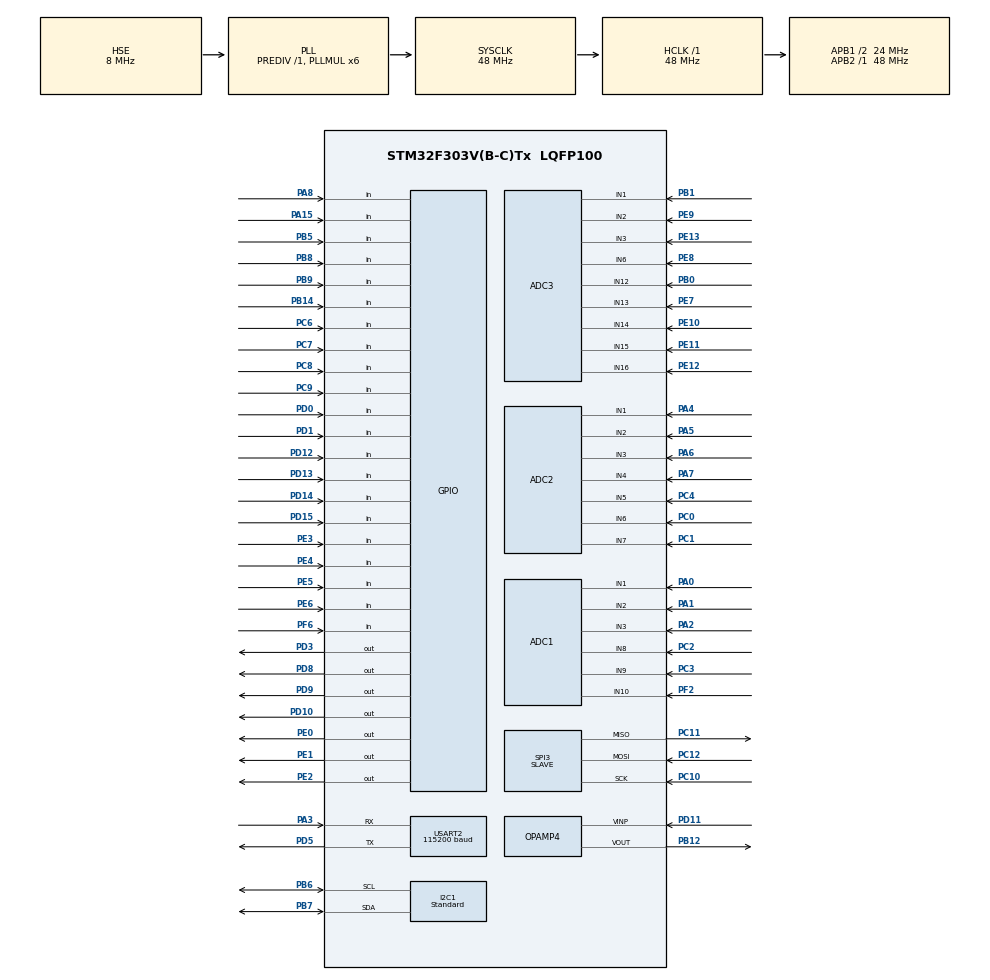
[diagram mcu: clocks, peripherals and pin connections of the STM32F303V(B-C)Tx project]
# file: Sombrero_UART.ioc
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ADC1.Channel-3\#ChannelRegularConversion=ADC_CHANNEL_1
ADC1.NbrOfConversionFlag=1
ADC1.Offset-3\#ChannelRegularConversion=0
ADC1.OffsetNumber-3\#ChannelRegularConversion=ADC_OFFSET_NONE
ADC1.Rank-3\#ChannelRegularConversion=1
ADC1.SamplingTime-3\#ChannelRegularConversion=ADC_SAMPLETIME_1CYCLE_5
ADC1.master=1
ADC2.Channel-1\#ChannelRegularConversion=ADC_CHANNEL_1
ADC2.NbrOfConversionFlag=1
ADC2.Offset-1\#ChannelRegularConversion=0
ADC2.OffsetNumber-1\#ChannelRegularConversion=ADC_OFFSET_NONE
ADC2.Rank-1\#ChannelRegularConversion=1
ADC2.SamplingTime-1\#ChannelRegularConversion=ADC_SAMPLETIME_1CYCLE_5
ADC3.Channel-2\#ChannelRegularConversion=ADC_CHANNEL_2
ADC3.NbrOfConversionFlag=1
ADC3.Offset-2\#ChannelRegularConversion=0
ADC3.OffsetNumber-2\#ChannelRegularConversion=ADC_OFFSET_NONE
ADC3.Rank-2\#ChannelRegularConversion=1
ADC3.SamplingTime-2\#ChannelRegularConversion=ADC_SAMPLETIME_1CYCLE_5
ADC3.master=1
ADC4.Channel-2\#ChannelRegularConversion=ADC_CHANNEL_VOPAMP4
ADC4.NbrOfConversionFlag=1
ADC4.Offset-2\#ChannelRegularConversion=0
ADC4.OffsetNumber-2\#ChannelRegularConversion=ADC_OFFSET_NONE
ADC4.Rank-2\#ChannelRegularConversion=1
ADC4.SamplingTime-2\#ChannelRegularConversion=ADC_SAMPLETIME_1CYCLE_5
I2C1.I2C_Speed_Mode=I2C_Standard
I2C1.Speed=50
I2C1.Timing=0x00101D7C
Mcu.Family=STM32F3
Mcu.Name=STM32F303V(B-C)Tx
Mcu.Package=LQFP100
NVIC.PriorityGroup=NVIC_PRIORITYGROUP_4
NVIC.USART2_IRQn=true\:0\:0\:false\:false\:true\:true\:true
PA0.Mode=IN1-Single-Ended
PA0.Signal=ADC1_IN1
PA1.Mode=IN2-Single-Ended
PA1.Signal=ADC1_IN2
PA13.Mode=Serial_Wire
PA13.Signal=SYS_JTMS-SWDIO
PA14.Mode=Serial_Wire
PA14.Signal=SYS_JTCK-SWCLK
PA15.Signal=GPIO_Input
PA2.Mode=IN3-Single-Ended
PA2.Signal=ADC1_IN3
PA3.Mode=Asynchronous
PA3.Signal=USART2_RX
PA4.Mode=IN1-Single-Ended
PA4.Signal=ADC2_IN1
PA5.Mode=IN2-Single-Ended
PA5.Signal=ADC2_IN2
PA6.Mode=IN3-Single-Ended
PA6.Signal=ADC2_IN3
PA7.Mode=IN4-Single-Ended
PA7.Signal=ADC2_IN4
PA8.GPIO_Mode=GPIO_MODE_INPUT
PA8.GPIO_PuPd=GPIO_NOPULL
PA8.Signal=GPIO_Input
PB0.Mode=IN12-Single-Ended
PB0.Signal=ADC3_IN12
PB1.Mode=IN1-Single-Ended
PB1.Signal=ADC3_IN1
PB12.Mode=Follower
PB12.Signal=OPAMP4_VOUT
PB14.GPIO_Mode=GPIO_MODE_INPUT
PB14.GPIO_PuPd=GPIO_NOPULL
PB14.Signal=GPIO_Input
PB5.GPIO_Mode=GPIO_MODE_INPUT
PB5.GPIO_PuPd=GPIO_NOPULL
PB5.Signal=GPIO_Input
PB6.Mode=I2C
PB6.Signal=I2C1_SCL
PB7.Mode=I2C
PB7.Signal=I2C1_SDA
PB8.GPIO_Mode=GPIO_MODE_INPUT
PB8.GPIO_PuPd=GPIO_NOPULL
PB8.Signal=GPIO_Input
PB9.GPIO_Mode=GPIO_MODE_INPUT
PB9.GPIO_PuPd=GPIO_NOPULL
PB9.Signal=GPIO_Input
PC0.Signal=ADCx_IN6
PC1.Signal=ADCx_IN7
PC10.Mode=Full_Duplex_Slave
PC10.Signal=SPI3_SCK
PC11.Mode=Full_Duplex_Slave
PC11.Signal=SPI3_MISO
PC12.Mode=Full_Duplex_Slave
PC12.Signal=SPI3_MOSI
PC14-OSC32_IN.Mode=LSE-External-Oscillator
PC14-OSC32_IN.Signal=RCC_OSC32_IN
PC15-OSC32_OUT.Mode=LSE-External-Oscillator
PC15-OSC32_OUT.Signal=RCC_OSC32_OUT
PC2.Signal=ADCx_IN8
PC3.Signal=ADCx_IN9
PC4.Mode=IN5-Single-Ended
PC4.Signal=ADC2_IN5
PC6.GPIO_Mode=GPIO_MODE_INPUT
PC6.GPIO_PuPd=GPIO_NOPULL
PC6.Signal=GPIO_Input
PC7.GPIO_Mode=GPIO_MODE_INPUT
PC7.GPIO_PuPd=GPIO_NOPULL
PC7.Signal=GPIO_Input
PC8.GPIO_Mode=GPIO_MODE_INPUT
PC8.GPIO_PuPd=GPIO_NOPULL
PC8.Signal=GPIO_Input
PC9.GPIO_Mode=GPIO_MODE_INPUT
PC9.GPIO_PuPd=GPIO_NOPULL
PC9.Signal=GPIO_Input
PD0.Signal=GPIO_Input
PD1.Signal=GPIO_Input
PD10.GPIO_ModeDefaultOutputPP=GPIO_MODE_OUTPUT_PP
PD10.GPIO_PuPd=GPIO_NOPULL
PD10.GPIO_Speed=GPIO_SPEED_FREQ_LOW
PD10.PinState=GPIO_PIN_RESET
PD10.Signal=GPIO_Output
PD11.Mode=Follower
PD11.Signal=OPAMP4_VINP
PD12.GPIO_Mode=GPIO_MODE_INPUT
PD12.GPIO_PuPd=GPIO_NOPULL
PD12.Signal=GPIO_Input
PD13.GPIO_Mode=GPIO_MODE_INPUT
PD13.GPIO_PuPd=GPIO_NOPULL
PD13.Signal=GPIO_Input
PD14.GPIO_Mode=GPIO_MODE_INPUT
PD14.GPIO_PuPd=GPIO_NOPULL
PD14.Signal=GPIO_Input
PD15.GPIO_Mode=GPIO_MODE_INPUT
PD15.GPIO_PuPd=GPIO_NOPULL
PD15.Signal=GPIO_Input
PD3.Signal=GPIO_Output
PD5.Mode=Asynchronous
PD5.Signal=USART2_TX
PD8.GPIO_ModeDefaultOutputPP=GPIO_MODE_OUTPUT_PP
PD8.GPIO_PuPd=GPIO_NOPULL
PD8.GPIO_Speed=GPIO_SPEED_FREQ_LOW
PD8.PinState=GPIO_PIN_RESET
PD8.Signal=GPIO_Output
PD9.GPIO_ModeDefaultOutputPP=GPIO_MODE_OUTPUT_PP
PD9.GPIO_PuPd=GPIO_NOPULL
PD9.GPIO_Speed=GPIO_SPEED_FREQ_LOW
PD9.PinState=GPIO_PIN_RESET
PD9.Signal=GPIO_Output
PE0.GPIO_ModeDefaultOutputPP=GPIO_MODE_OUTPUT_PP
PE0.GPIO_PuPd=GPIO_NOPULL
PE0.GPIO_Speed=GPIO_SPEED_FREQ_LOW
PE0.PinState=GPIO_PIN_RESET
PE0.Signal=GPIO_Output
PE1.GPIO_ModeDefaultOutputPP=GPIO_MODE_OUTPUT_PP
PE1.GPIO_PuPd=GPIO_NOPULL
PE1.GPIO_Speed=GPIO_SPEED_FREQ_LOW
PE1.PinState=GPIO_PIN_RESET
PE1.Signal=GPIO_Output
PE10.Mode=IN14-Single-Ended
PE10.Signal=ADC3_IN14
PE11.Mode=IN15-Single-Ended
PE11.Signal=ADC3_IN15
PE12.Mode=IN16-Single-Ended
PE12.Signal=ADC3_IN16
PE13.Mode=IN3-Single-Ended
PE13.Signal=ADC3_IN3
PE2.GPIO_ModeDefaultOutputPP=GPIO_MODE_OUTPUT_PP
PE2.GPIO_PuPd=GPIO_NOPULL
PE2.GPIO_Speed=GPIO_SPEED_FREQ_LOW
PE2.PinState=GPIO_PIN_RESET
PE2.Signal=GPIO_Output
PE3.GPIO_Mode=GPIO_MODE_INPUT
PE3.GPIO_PuPd=GPIO_NOPULL
PE3.Signal=GPIO_Input
PE4.GPIO_Mode=GPIO_MODE_INPUT
PE4.GPIO_PuPd=GPIO_NOPULL
PE4.Signal=GPIO_Input
PE5.GPIO_Mode=GPIO_MODE_INPUT
PE5.GPIO_PuPd=GPIO_NOPULL
PE5.Signal=GPIO_Input
PE6.GPIO_Mode=GPIO_MODE_INPUT
PE6.GPIO_PuPd=GPIO_NOPULL
PE6.Signal=GPIO_Input
PE7.Mode=IN13-Single-Ended
PE7.Signal=ADC3_IN13
PE8.Signal=ADCx_IN6P
PE9.Mode=IN2-Single-Ended
PE9.Signal=ADC3_IN2
PF0-OSC_IN.Mode=HSE-External-Oscillator
PF0-OSC_IN.Signal=RCC_OSC_IN
PF1-OSC_OUT.Mode=HSE-External-Oscillator
PF1-OSC_OUT.Signal=RCC_OSC_OUT
PF2.Signal=ADCx_IN10
PF6.Signal=GPIO_Input
ProjectManager.HeapSize=0x200
ProjectManager.StackSize=0x400
ProjectManager.TargetToolchain=Makefile
RCC.ADC12PRES=RCC_ADC12PLLCLK_DIV4
RCC.ADC34PRES=RCC_ADC34PLLCLK_DIV4
RCC.AHBFreq_Value=48000000
RCC.APB1CLKDivider=RCC_HCLK_DIV2
RCC.APB1Freq_Value=24000000
RCC.APB1TimFreq_Value=48000000
RCC.APB2Freq_Value=48000000
RCC.APB2TimFreq_Value=48000000
RCC.CortexFreq_Value=48000000
RCC.HCLKFreq_Value=48000000
RCC.HSE_VALUE=8000000
RCC.HSI_VALUE=8000000
RCC.PLLMUL=RCC_PLL_MUL6
RCC.PLLSourceVirtual=RCC_PLLSOURCE_HSE
RCC.PREFETCH_ENABLE=1
RCC.SYSCLKFreq_VALUE=48000000
RCC.SYSCLKSourceVirtual=RCC_SYSCLKSOURCE_PLLCLK
RCC.USBFreq_Value=48000000
RCC.Usart1ClockSelection=RCC_USART1CLKSOURCE_SYSCLK
RCC.Usart2ClockSelection=RCC_USART2CLKSOURCE_SYSCLK
RCC.Usart3ClockSelection=RCC_USART3CLKSOURCE_SYSCLK
SH.ADCx_IN10.0=ADC1_IN10,IN10-Single-Ended
SH.ADCx_IN6.0=ADC2_IN6,IN6-Single-Ended
SH.ADCx_IN6P.0=ADC3_IN6,IN6-Single-Ended
SH.ADCx_IN7.0=ADC2_IN7,IN7-Single-Ended
SH.ADCx_IN8.0=ADC1_IN8,IN8-Single-Ended
SH.ADCx_IN9.0=ADC1_IN9,IN9-Single-Ended
SPI3.DataSize=SPI_DATASIZE_8BIT
SPI3.Direction=SPI_DIRECTION_2LINES
SPI3.Mode=SPI_MODE_SLAVE
SPI3.VirtualType=VM_SLAVE
USART2.BaudRate=115200
USART2.VirtualMode-Asynchronous=VM_ASYNC
VP_ADC4_OPAMP_INTERNAL4.Mode=IN-OPAMP4
board=custom

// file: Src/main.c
/* USER CODE BEGIN Header */
/**
  ******************************************************************************
  * @file           : main.c
  * @brief          : Main program body
  ******************************************************************************
  * @attention
  *
  * <h2><center>&copy; Copyright (c) 2019 STMicroelectronics.
  * All rights reserved.</center></h2>
  *
  * This software component is licensed by ST under BSD 3-Clause license,
  * the "License"; You may not use this file except in compliance with the
  * License. You may obtain a copy of the License at:
  *                        opensource.org/licenses/BSD-3-Clause
  *
  ******************************************************************************
  */
/* USER CODE END Header */

#include "main.h"
#include "adc.h"
#include "i2c.h"
#include "opamp.h"
#include "spi.h"
#include "usart.h"
#include "gpio.h"

/* USER CODE BEGIN Includes */
#include <string.h>
/* USER CODE END Includes */

/* USER CODE BEGIN PV */
volatile char log_buffer[150];
char *buff_tx = "Hello!\n\r";
volatile uint8_t buff_rx[150];
volatile uint8_t counter = 0;
uint32_t interval = 500;
volatile uint32_t previousMillis = 0;
volatile uint32_t currentMillis = 0;
/* USER CODE END PV */

void SystemClock_Config(void);

int main(void)
{

  /* MCU Configuration--------------------------------------------------------*/

  /* Reset of all peripherals, Initializes the Flash interface and the Systick. */
  HAL_Init();

  /* Configure the system clock */
  SystemClock_Config();

  /* Initialize all configured peripherals */
  MX_GPIO_Init();
  MX_ADC1_Init();
  MX_ADC2_Init();
  MX_ADC3_Init();
  MX_ADC4_Init();
  MX_I2C1_Init();
  MX_OPAMP4_Init();
  MX_USART2_UART_Init();
  MX_SPI3_Init();
  /* USER CODE BEGIN 2 */
  // ---
  // PVs

  // ---

  //__HAL_UART_ENABLE_IT(&huart2, UART_IT_TC);   // enable Tx UART interrupt.
  //__HAL_UART_ENABLE_IT(&huart2, UART_IT_RXNE); // enable Rx UART interrupt.

  /* USER CODE END 2 */

  /* Infinite loop */
  /* USER CODE BEGIN WHILE */
  while (1)
  {
    HAL_UART_Receive(&huart2, buff_rx, sizeof(buff_rx), 2);
    currentMillis = HAL_GetTick();
    if (currentMillis - previousMillis >= interval)
    {
      previousMillis = currentMillis;
      sprintf(log_buffer, "millis: %ld\r\n", currentMillis);
      debug_printf(log_buffer);
      //HAL_Delay(1);
      sprintf(log_buffer, "buffrx: %s\r\n", buff_rx);
      debug_printf(log_buffer);
      //HAL_Delay(1);
      int i;
      for (i = 0; i < sizeof(buff_rx); i++)
      {
        buff_rx[i] = 0;
      }
    }
    //__HAL_UART_FLUSH_DRREGISTER(&huart2);
    //debug_printf(buff_tx); // hello!
    //HAL_Delay(1);
    /*
    counter++;
    sprintf(log_buffer, "testing interrupt method: %d\r\n", currentMillis);
    debug_printf(log_buffer);
    //__HAL_UART_FLUSH_DRREGISTER(&huart2);
    //HAL_Delay(500);

    HAL_Delay(1);
    sprintf(log_buffer, "testing rx buffer %s\r\n", buff_rx);
    debug_printf(log_buffer);
        HAL_Delay(1);

    //memset(buff_rx, 0, sizeof(buff_rx));
    HAL_Delay(1);
    */

    /* USER CODE END WHILE */

  }
}

void SystemClock_Config(void)
{
  RCC_OscInitTypeDef RCC_OscInitStruct = {0};
  RCC_ClkInitTypeDef RCC_ClkInitStruct = {0};
  RCC_PeriphCLKInitTypeDef PeriphClkInit = {0};

  /** Initializes the CPU, AHB and APB busses clocks
  */
  RCC_OscInitStruct.OscillatorType = RCC_OSCILLATORTYPE_HSI | RCC_OSCILLATORTYPE_HSE;
  RCC_OscInitStruct.HSEState = RCC_HSE_ON;
  RCC_OscInitStruct.HSEPredivValue = RCC_HSE_PREDIV_DIV1;
  RCC_OscInitStruct.HSIState = RCC_HSI_ON;
  RCC_OscInitStruct.HSICalibrationValue = RCC_HSICALIBRATION_DEFAULT;
  RCC_OscInitStruct.PLL.PLLState = RCC_PLL_ON;
  RCC_OscInitStruct.PLL.PLLSource = RCC_PLLSOURCE_HSE;
  RCC_OscInitStruct.PLL.PLLMUL = RCC_PLL_MUL6;
  if (HAL_RCC_OscConfig(&RCC_OscInitStruct) != HAL_OK)
  {
    Error_Handler();
  }
  /** Initializes the CPU, AHB and APB busses clocks
  */
  RCC_ClkInitStruct.ClockType = RCC_CLOCKTYPE_HCLK | RCC_CLOCKTYPE_SYSCLK | RCC_CLOCKTYPE_PCLK1 | RCC_CLOCKTYPE_PCLK2;
  RCC_ClkInitStruct.SYSCLKSource = RCC_SYSCLKSOURCE_PLLCLK;
  RCC_ClkInitStruct.AHBCLKDivider = RCC_SYSCLK_DIV1;
  RCC_ClkInitStruct.APB1CLKDivider = RCC_HCLK_DIV2;
  RCC_ClkInitStruct.APB2CLKDivider = RCC_HCLK_DIV1;

  if (HAL_RCC_ClockConfig(&RCC_ClkInitStruct, FLASH_LATENCY_1) != HAL_OK)
  {
    Error_Handler();
  }
  PeriphClkInit.PeriphClockSelection = RCC_PERIPHCLK_USART2 | RCC_PERIPHCLK_I2C1 | RCC_PERIPHCLK_ADC12 | RCC_PERIPHCLK_ADC34;
  PeriphClkInit.Usart2ClockSelection = RCC_USART2CLKSOURCE_SYSCLK;
  PeriphClkInit.Adc12ClockSelection = RCC_ADC12PLLCLK_DIV4;
  PeriphClkInit.Adc34ClockSelection = RCC_ADC34PLLCLK_DIV4;
  PeriphClkInit.I2c1ClockSelection = RCC_I2C1CLKSOURCE_HSI;
  if (HAL_RCCEx_PeriphCLKConfig(&PeriphClkInit) != HAL_OK)
  {
    Error_Handler();
  }
}

void Error_Handler(void)
{
}

/************************ (C) COPYRIGHT STMicroelectronics *****END OF FILE****/
